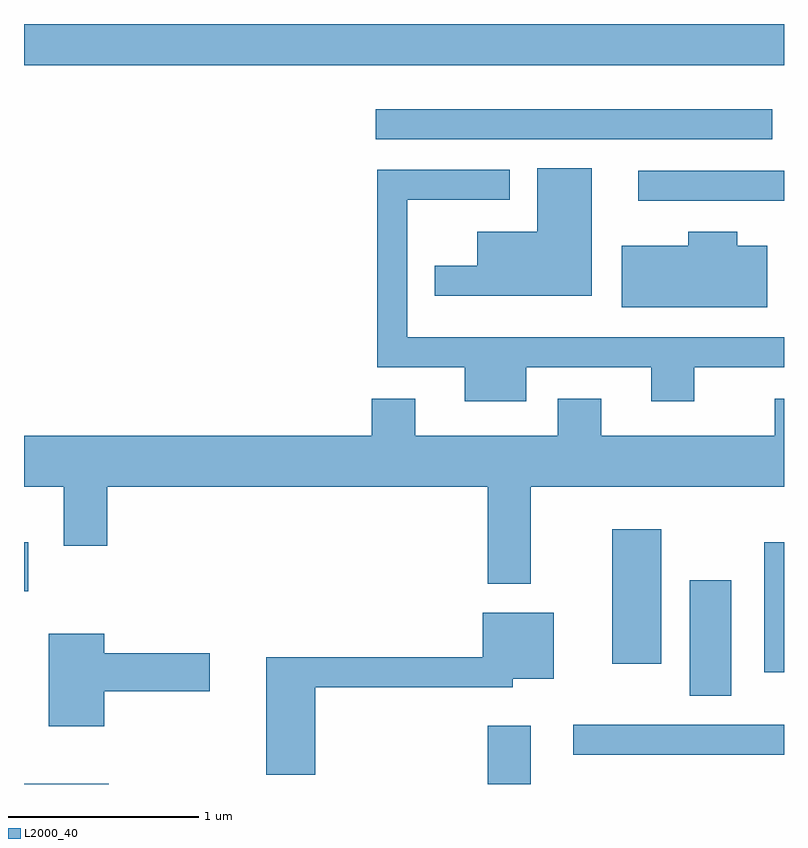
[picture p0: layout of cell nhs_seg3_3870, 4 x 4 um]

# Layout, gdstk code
import gdstk
lib = gdstk.Library(unit=1e-6, precision=1e-09)
def R(c, l, rs):  # rectangles x0, y0, x1, y1
    for r in rs: c.add(gdstk.rectangle(r[:2], r[2:], *l))
def P(c, l, *ps):  # polygons
    for p in ps: c.add(gdstk.Polygon(p, *l))
L2000_40 = (2000, 40)

nhs_seg3_3870 = lib.new_cell('nhs_seg3_3870')
R(nhs_seg3_3870, L2000_40, [(297.611,1239.892,298.058,1239.894), (300.051,1239.892,300.279,1240.199), (300.503,1240.046,301.611,1240.204), (301.116,1240.356,301.334,1240.964), (301.506,1240.481,301.611,1241.164), (300.706,1240.526,300.964,1241.234), (297.611,1240.906,297.634,1241.164), (300.843,1242.961,301.611,1243.119), (299.463,1243.286,301.548,1243.444), (297.611,1243.676,301.611,1243.892)])
P(nhs_seg3_3870, L2000_40, [(300.599,1243.134),(300.311,1243.134),(300.311,1242.799),(299.996,1242.799),(299.996,1242.619),(299.773,1242.619),(299.773,1242.461),(300.599,1242.461)],
  [(300.254,1242.086),(300.911,1242.086),(300.911,1241.906),(301.139,1241.906),(301.139,1242.086),(301.611,1242.086),(301.611,1242.244),(299.629,1242.244),(299.629,1242.966),(300.168,1242.966),(300.168,1243.124),(299.471,1243.124),(299.471,1242.086),(299.931,1242.086),(299.931,1241.906),(300.254,1241.906)],
  [(301.524,1242.724),(301.364,1242.724),(301.364,1242.799),(301.106,1242.799),(301.106,1242.724),(300.756,1242.724),(300.756,1242.401),(301.524,1242.401)],
  [(300.279,1241.456),(301.611,1241.456),(301.611,1241.919),(301.561,1241.919),(301.561,1241.724),(300.649,1241.724),(300.649,1241.919),(300.421,1241.919),(300.421,1241.724),(299.669,1241.724),(299.669,1241.919),(299.441,1241.919),(299.441,1241.724),(297.611,1241.724),(297.611,1241.456),(297.821,1241.456),(297.821,1241.146),(298.049,1241.146),(298.049,1241.456),(300.051,1241.456),(300.051,1240.946),(300.279,1240.946)],
  [(299.144,1240.401),(300.184,1240.401),(300.184,1240.446),(300.399,1240.446),(300.399,1240.794),(300.026,1240.794),(300.026,1240.559),(298.886,1240.559),(298.886,1239.941),(299.144,1239.941)],
  [(298.034,1240.381),(298.589,1240.381),(298.589,1240.579),(298.034,1240.579),(298.034,1240.684),(297.741,1240.684),(297.741,1240.196),(298.034,1240.196)])

lib.write_gds('nhs_seg3_3870.gds')
